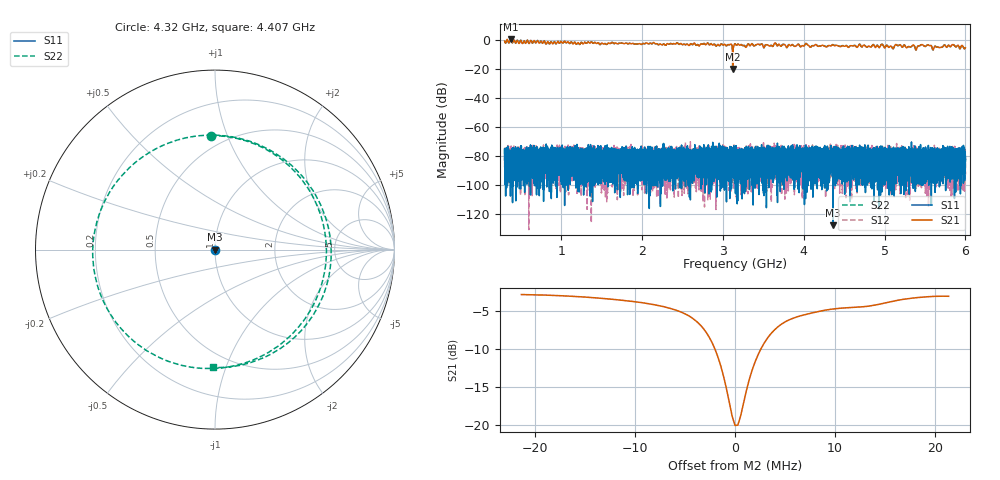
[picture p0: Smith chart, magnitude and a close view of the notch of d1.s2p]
!Agilent Technologies,N5230C,SG49000117,A.08.50.07
!Agilent N5230C: A.08.50.07
!Date: Sunday, March 17, 2024 02:18:10
!Correction: S11(Off)
!S21(Off)
!S12(Off)
!S22(Off)
!S2P File: Measurements: S11, S21, S12, S22:
# Hz S  RI  R 50
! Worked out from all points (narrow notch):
!   20001 points, 300 MHz to 6 GHz, reference 50 ohm
!   highest |S21| = 0.47 dB at 374.7 MHz (marker M1); lowest = -20.0 dB at 3.122 GHz (marker M2)
!   notch at M2: 16.7 dB deep, 3.57 MHz wide at half that depth
!   lowest |S11| = -128.0 dB at 4.363 GHz (marker M3), VSWR 1.00, Z = 50 - j3.04e-05 ohm
!   |S11| at or under -10 dB: start of sweep to end of sweep
!   |S22| runs from -20.0 to 0.5 dB; largest |S21 - S12| = 1.1
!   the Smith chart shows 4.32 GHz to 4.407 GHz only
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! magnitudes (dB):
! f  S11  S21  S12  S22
! 300 MHz  -78.1  -0.9  -81.5  -0.8
! 374.7 MHz  -83.0  0.5  -92.2  0.5
! 1.25 GHz  -81.9  -1.7  -85.3  -1.7
! 2.2 GHz  -77.6  -3.4  -88.4  -3.4
! 3.083 GHz  -76.9  -3.4  -86.1  -3.4
! 3.122 GHz  -94.2  -20.0  -77.7  -20.0
! 3.15 GHz  -81.7  -2.8  -81.4  -2.8
! 3.168 GHz  -85.9  -3.7  -77.8  -3.7
! 3.271 GHz  -76.5  -4.2  -81.1  -4.1
! 3.458 GHz  -82.6  -3.5  -80.6  -3.4
! 3.978 GHz  -76.7  -4.0  -81.6  -3.9
! 4.037 GHz  -88.9  -2.9  -96.2  -2.8
! 4.1 GHz  -85.2  -4.3  -79.6  -4.2
! 4.363 GHz  -128.0  -3.4  -86.5  -3.3
! 5.05 GHz  -84.5  -5.1  -82.5  -5.1
! 5.167 GHz  -76.4  -4.1  -85.1  -4.0
! 5.398 GHz  -85.5  -6.1  -84.4  -6.1
! 5.445 GHz  -82.2  -3.7  -79.0  -3.7
! 5.548 GHz  -84.8  -3.8  -80.9  -3.8
! 5.614 GHz  -86.2  -5.2  -83.9  -5.2
! 5.847 GHz  -86.5  -3.3  -78.5  -3.4
! 6 GHz  -82.2  -5.5  -78.1  -5.5
